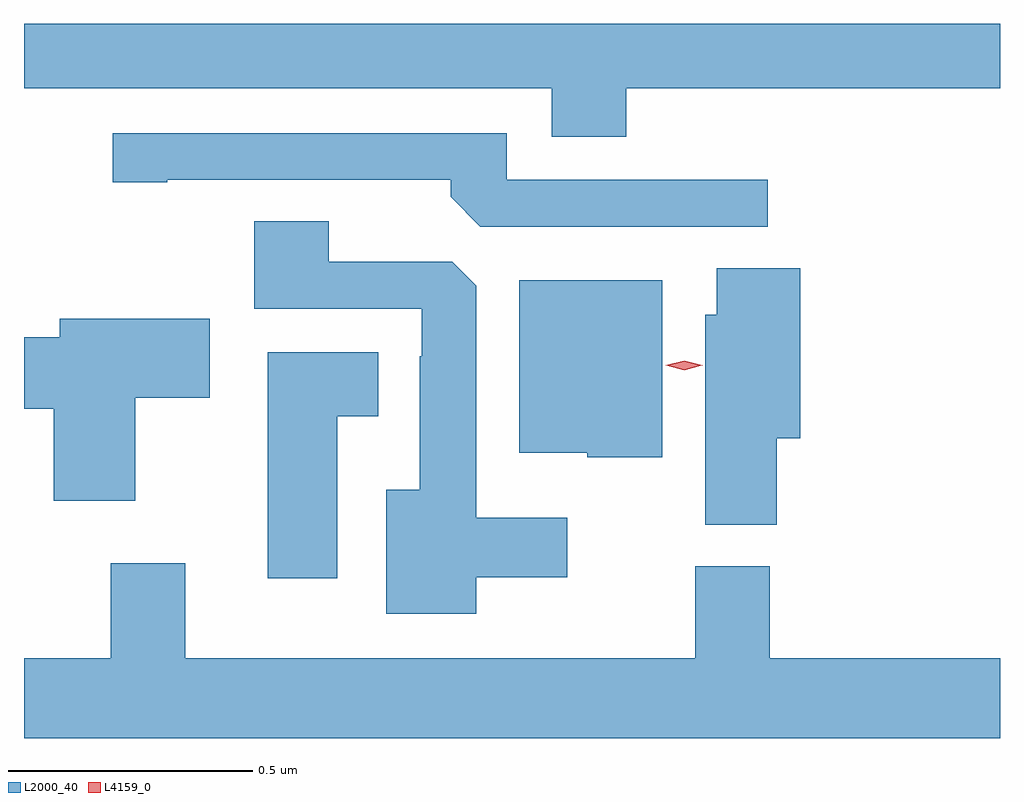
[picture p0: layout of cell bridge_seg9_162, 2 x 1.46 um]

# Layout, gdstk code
import gdstk
lib = gdstk.Library(unit=1e-6, precision=1e-09)
def P(c, l, *ps):  # polygons
    for p in ps: c.add(gdstk.Polygon(p, *l))
L2000_40 = (2000, 40)
L4159_0 = (4159, 0)

bridge_seg9_162 = lib.new_cell('bridge_seg9_162')
P(bridge_seg9_162, L2000_40, [(311.93,1248.368),(312.696,1248.368),(312.696,1248.5),(310.696,1248.5),(310.696,1248.368),(311.777,1248.368),(311.777,1248.269),(311.93,1248.269)],
  [(312.22,1248.18),(311.685,1248.18),(311.685,1248.276),(310.878,1248.276),(310.878,1248.175),(310.99,1248.175),(310.99,1248.18),(311.57,1248.18),(311.57,1248.146),(311.631,1248.084),(312.22,1248.084)],
  [(311.623,1247.366),(311.809,1247.366),(311.809,1247.488),(311.623,1247.488),(311.623,1247.963),(311.574,1248.012),(311.32,1248.012),(311.32,1248.095),(311.168,1248.095),(311.168,1247.916),(311.511,1247.916),(311.511,1247.819),(311.507,1247.819),(311.507,1247.545),(311.438,1247.545),(311.438,1247.291),(311.623,1247.291)],
  [(312.239,1247.651),(312.287,1247.651),(312.287,1247.999),(312.116,1247.999),(312.116,1247.904),(312.092,1247.904),(312.092,1247.473),(312.239,1247.473)],
  [(312.004,1247.974),(311.711,1247.974),(311.711,1247.621),(311.85,1247.621),(311.85,1247.612),(312.004,1247.612)],
  [(310.924,1247.734),(311.077,1247.734),(311.077,1247.896),(310.769,1247.896),(310.769,1247.858),(310.696,1247.858),(310.696,1247.711),(310.757,1247.711),(310.757,1247.523),(310.924,1247.523)],
  [(311.338,1247.696),(311.422,1247.696),(311.422,1247.827),(311.195,1247.827),(311.195,1247.364),(311.338,1247.364)],
  [(312.696,1247.2),(312.224,1247.2),(312.224,1247.388),(312.071,1247.388),(312.071,1247.2),(311.026,1247.2),(311.026,1247.395),(310.874,1247.395),(310.874,1247.2),(310.696,1247.2),(310.696,1247.036),(312.696,1247.036)])
P(bridge_seg9_162, L4159_0, [(312.049,1247.79),(312.011,1247.8),(312.011,1247.8),(312.011,1247.8),(312.049,1247.81),(312.086,1247.8),(312.087,1247.8),(312.086,1247.8)])

lib.write_gds('bridge_seg9_162.gds')
